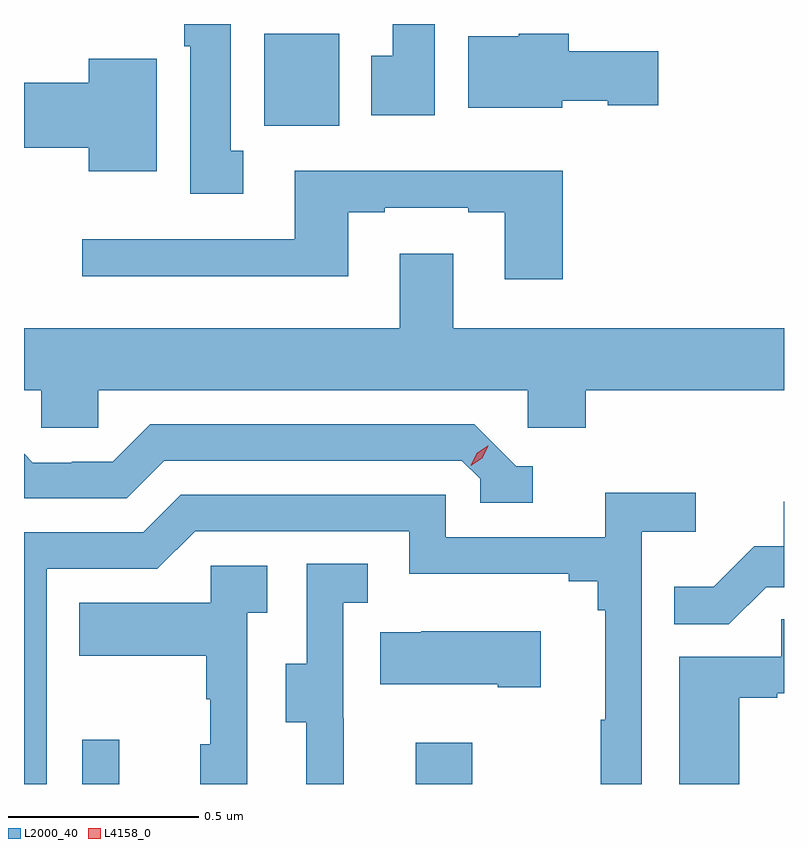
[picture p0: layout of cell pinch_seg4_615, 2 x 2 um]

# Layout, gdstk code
import gdstk
lib = gdstk.Library(unit=1e-6, precision=1e-09)
def R(c, l, rs):  # rectangles x0, y0, x1, y1
    for r in rs: c.add(gdstk.rectangle(r[:2], r[2:], *l))
def P(c, l, *ps):  # polygons
    for p in ps: c.add(gdstk.Polygon(p, *l))
L2000_40 = (2000, 40)
L4158_0 = (4158, 0)

pinch_seg4_615 = lib.new_cell('pinch_seg4_615')
R(pinch_seg4_615, L2000_40, [(1044.003,774.472,1044.101,774.589), (1044.881,774.472,1045.029,774.58), (1044.482,776.204,1044.679,776.446)])
P(pinch_seg4_615, L2000_40, [(1044.931,776.472),(1044.821,776.472),(1044.821,776.388),(1044.764,776.388),(1044.764,776.232),(1044.931,776.232)],
  [(1044.427,776.138),(1044.394,776.138),(1044.394,776.472),(1044.272,776.472),(1044.272,776.414),(1044.287,776.414),(1044.287,776.025),(1044.427,776.025)],
  [(1045.266,776.27),(1045.386,776.27),(1045.386,776.258),(1045.519,776.258),(1045.519,776.4),(1045.283,776.4),(1045.283,776.446),(1045.152,776.446),(1045.152,776.44),(1045.019,776.44),(1045.019,776.252),(1045.266,776.252)],
  [(1044.199,776.38),(1044.02,776.38),(1044.02,776.318),(1043.85,776.318),(1043.85,776.146),(1044.02,776.146),(1044.02,776.084),(1044.199,776.084)],
  [(1045.268,776.086),(1044.563,776.086),(1044.563,775.905),(1044.003,775.905),(1044.003,775.808),(1044.703,775.808),(1044.703,775.977),(1044.799,775.977),(1044.799,775.989),(1045.019,775.989),(1045.019,775.977),(1045.115,775.977),(1045.115,775.8),(1045.268,775.8)],
  [(1044.045,775.508),(1045.176,775.508),(1045.176,775.41),(1045.328,775.41),(1045.328,775.508),(1045.85,775.508),(1045.85,775.672),(1044.979,775.672),(1044.979,775.867),(1044.839,775.867),(1044.839,775.672),(1043.85,775.672),(1043.85,775.508),(1043.895,775.508),(1043.895,775.41),(1044.045,775.41)],
  [(1045.189,775.308),(1045.146,775.308),(1045.035,775.419),(1044.182,775.419),(1044.083,775.32),(1043.976,775.32),(1043.976,775.317),(1043.873,775.317),(1043.85,775.341),(1043.85,775.224),(1044.12,775.224),(1044.219,775.323),(1045.002,775.323),(1045.05,775.275),(1045.05,775.212),(1045.189,775.212)],
  [(1043.91,775.038),(1044.201,775.038),(1044.3,775.137),(1044.864,775.137),(1044.864,775.025),(1045.283,775.025),(1045.283,775.006),(1045.36,775.006),(1045.36,774.929),(1045.379,774.929),(1045.379,774.641),(1045.368,774.641),(1045.368,774.472),(1045.476,774.472),(1045.476,775.136),(1045.618,775.136),(1045.618,775.238),(1045.379,775.238),(1045.379,775.122),(1044.96,775.122),(1044.96,775.233),(1044.263,775.233),(1044.164,775.134),(1043.85,775.134),(1043.85,774.472),(1043.91,774.472)],
  [(1045.803,774.99),(1045.85,774.99),(1045.85,775.215),(1045.849,775.215),(1045.849,775.098),(1045.772,775.098),(1045.665,774.991),(1045.561,774.991),(1045.561,774.892),(1045.705,774.892)],
  [(1044.692,774.645),(1044.69,774.645),(1044.69,774.949),(1044.754,774.949),(1044.754,775.052),(1044.594,775.052),(1044.594,774.789),(1044.539,774.789),(1044.539,774.634),(1044.593,774.634),(1044.593,774.472),(1044.692,774.472)],
  [(1044.438,774.923),(1044.49,774.923),(1044.49,775.047),(1044.342,775.047),(1044.342,774.949),(1043.995,774.949),(1043.995,774.809),(1044.33,774.809),(1044.33,774.695),(1044.34,774.695),(1044.34,774.576),(1044.314,774.576),(1044.314,774.472),(1044.438,774.472)],
  [(1045.732,774.699),(1045.832,774.699),(1045.832,774.711),(1045.85,774.711),(1045.85,774.905),(1045.843,774.905),(1045.843,774.807),(1045.574,774.807),(1045.574,774.472),(1045.732,774.472)],
  [(1045.21,774.874),(1044.895,774.874),(1044.895,774.871),(1044.787,774.871),(1044.787,774.734),(1045.097,774.734),(1045.097,774.727),(1045.21,774.727)])
P(pinch_seg4_615, L4158_0, [(1045.026,775.309),(1045.026,775.309),(1045.041,775.342),(1045.071,775.362),(1045.072,775.362),(1045.072,775.362),(1045.056,775.329),(1045.026,775.309)])

lib.write_gds('pinch_seg4_615.gds')
